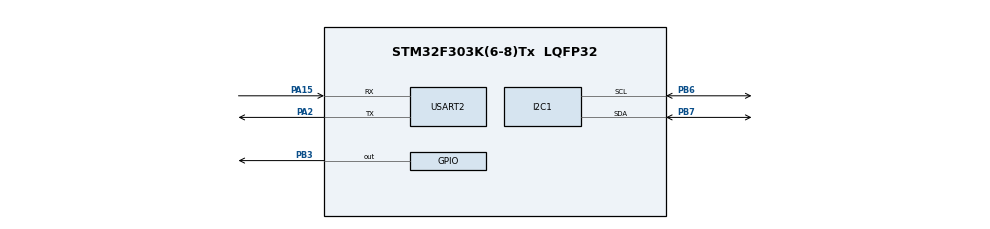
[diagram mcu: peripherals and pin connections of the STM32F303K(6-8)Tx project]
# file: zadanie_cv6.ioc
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I2C1.Timing=0x00201D2B
Mcu.Family=STM32F3
Mcu.Name=STM32F303K(6-8)Tx
Mcu.Package=LQFP32
NVIC.PriorityGroup=NVIC_PRIORITYGROUP_4
PA13.Mode=Serial_Wire
PA13.Signal=SYS_JTMS-SWDIO
PA14.Mode=Serial_Wire
PA14.Signal=SYS_JTCK-SWCLK
PA15.Mode=Asynchronous
PA15.Signal=USART2_RX
PA2.Mode=Asynchronous
PA2.Signal=USART2_TX
PB3.Signal=GPIO_Output
PB6.Mode=I2C
PB6.Signal=I2C1_SCL
PB7.Mode=I2C
PB7.Signal=I2C1_SDA
ProjectManager.HeapSize=0x200
ProjectManager.StackSize=0x400
ProjectManager.TargetToolchain=STM32CubeIDE
RCC.AHBFreq_Value=8000000
RCC.APB1Freq_Value=8000000
RCC.APB2Freq_Value=8000000
RCC.CortexFreq_Value=8000000
RCC.HSE_VALUE=8000000
RCC.HSI_VALUE=8000000
RCC.SYSCLKFreq_VALUE=8000000
USART2.VirtualMode-Asynchronous=VM_ASYNC
board=custom

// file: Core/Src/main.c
/* USER CODE BEGIN Header */
/**
  ******************************************************************************
  * @file           : main.c
  * @brief          : Main program body
  ******************************************************************************
  * @attention
  *
  * Copyright (c) 2026 STMicroelectronics.
  * All rights reserved.
  *
  * This software is licensed under terms that can be found in the LICENSE file
  * in the root directory of this software component.
  * If no LICENSE file comes with this software, it is provided AS-IS.
  *
  ******************************************************************************
  */
/* USER CODE END Header */
#include "main.h"
#include "i2c.h"
#include "usart.h"
#include "gpio.h"

/* USER CODE BEGIN Includes */
#include "hts221.h"
#include "lps22hb.h"
#include <stdio.h>
/* USER CODE END Includes */

/* USER CODE BEGIN PV */
float temperature = 0.0f;
float humidity = 0.0f;

float pressure = 0.0f;

float reference_pressure = 0.0f;
float altitude = 0.0f;

char uart_buffer[64];
/* USER CODE END PV */

void SystemClock_Config(void);

int main(void)
{

  /* MCU Configuration--------------------------------------------------------*/

  /* Reset of all peripherals, Initializes the Flash interface and the Systick. */
  LL_APB2_GRP1_EnableClock(LL_APB2_GRP1_PERIPH_SYSCFG);
  LL_APB1_GRP1_EnableClock(LL_APB1_GRP1_PERIPH_PWR);

  /* System interrupt init*/
  NVIC_SetPriorityGrouping(NVIC_PRIORITYGROUP_4);

  /* SysTick_IRQn interrupt configuration */
  NVIC_SetPriority(SysTick_IRQn, NVIC_EncodePriority(NVIC_GetPriorityGrouping(),15, 0));

  /* Configure the system clock */
  SystemClock_Config();

  /* Initialize all configured peripherals */
  MX_GPIO_Init();
  MX_I2C1_Init();
  MX_USART2_UART_Init();
  /* USER CODE BEGIN 2 */
  hts221_register_callbacks(i2c_master_read, i2c_master_write);

  if(hts221_init() != HTS221_OK)
  {
  	LL_GPIO_SetOutputPin(GPIOB, LL_GPIO_PIN_3);
  	while(1);
  }

  lps22hb_register_callbacks(i2c_master_read, i2c_master_write);

  if(lps22hb_init() != LPS22HB_OK)
  {
  	LL_GPIO_SetOutputPin(GPIOB, LL_GPIO_PIN_3);
  	while(1);
  }

  if(lps22hb_get_reference_pressure(&reference_pressure, 10) != LPS22HB_OK)
  {
  	LL_GPIO_SetOutputPin(GPIOB, LL_GPIO_PIN_3);
  	while(1);
  }
  /* USER CODE END 2 */

  /* Infinite loop */
  while (1)
  {

    /* USER CODE BEGIN 3 */
	hts221_get_temperature(&temperature);
	hts221_get_humidity(&humidity);
	lps22hb_get_pressure(&pressure);
	altitude = lps22hb_calculate_altitude(pressure, reference_pressure);

	snprintf(uart_buffer, sizeof(uart_buffer), "%.1f,%.0f,%.2f,%.2f\r\n", temperature, humidity, pressure, altitude);
	usart2_send_string(uart_buffer);

	LL_GPIO_TogglePin(GPIOB, LL_GPIO_PIN_3);
	LL_mDelay(200);
  }
  /* USER CODE END 3 */
}

void SystemClock_Config(void)
{
  LL_FLASH_SetLatency(LL_FLASH_LATENCY_0);
  while(LL_FLASH_GetLatency()!= LL_FLASH_LATENCY_0)
  {
  }
  LL_RCC_HSI_Enable();

   /* Wait till HSI is ready */
  while(LL_RCC_HSI_IsReady() != 1)
  {

  }
  LL_RCC_HSI_SetCalibTrimming(16);
  LL_RCC_SetAHBPrescaler(LL_RCC_SYSCLK_DIV_1);
  LL_RCC_SetAPB1Prescaler(LL_RCC_APB1_DIV_1);
  LL_RCC_SetAPB2Prescaler(LL_RCC_APB2_DIV_1);
  LL_RCC_SetSysClkSource(LL_RCC_SYS_CLKSOURCE_HSI);

   /* Wait till System clock is ready */
  while(LL_RCC_GetSysClkSource() != LL_RCC_SYS_CLKSOURCE_STATUS_HSI)
  {

  }
  LL_Init1msTick(8000000);
  LL_SetSystemCoreClock(8000000);
  LL_RCC_SetI2CClockSource(LL_RCC_I2C1_CLKSOURCE_HSI);
}

void Error_Handler(void)
{
  __disable_irq();
  while (1)
  {
  }
}
